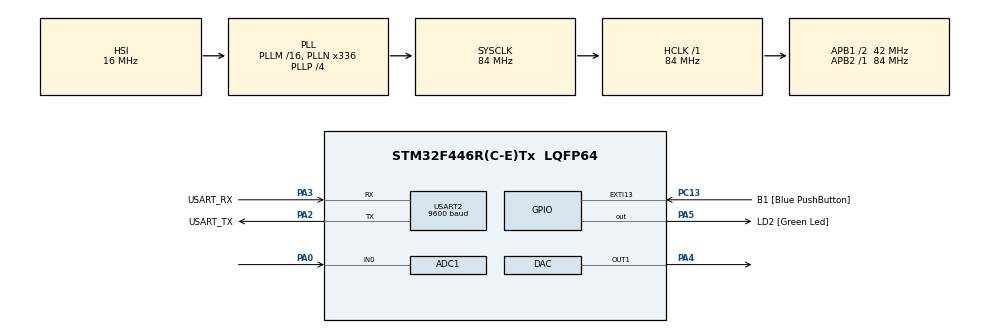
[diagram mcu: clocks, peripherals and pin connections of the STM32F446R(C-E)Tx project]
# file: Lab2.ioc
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ADC1.Channel-0\#ChannelRegularConversion=ADC_CHANNEL_0
ADC1.ContinuousConvMode=DISABLE
ADC1.DMAContinuousRequests=ENABLE
ADC1.ExternalTrigConv=ADC_EXTERNALTRIGCONV_T8_TRGO
ADC1.NbrOfConversionFlag=1
ADC1.Rank-0\#ChannelRegularConversion=1
ADC1.SamplingTime-0\#ChannelRegularConversion=ADC_SAMPLETIME_3CYCLES
ADC1.master=1
DAC.DAC_Trigger=DAC_TRIGGER_T8_TRGO
Dma.ADC1.0.Direction=DMA_PERIPH_TO_MEMORY
Dma.ADC1.0.FIFOMode=DMA_FIFOMODE_DISABLE
Dma.ADC1.0.Instance=DMA2_Stream0
Dma.ADC1.0.MemDataAlignment=DMA_MDATAALIGN_HALFWORD
Dma.ADC1.0.MemInc=DMA_MINC_ENABLE
Dma.ADC1.0.Mode=DMA_CIRCULAR
Dma.ADC1.0.PeriphDataAlignment=DMA_PDATAALIGN_HALFWORD
Dma.ADC1.0.PeriphInc=DMA_PINC_DISABLE
Dma.ADC1.0.Priority=DMA_PRIORITY_HIGH
Dma.DAC1.1.Direction=DMA_MEMORY_TO_PERIPH
Dma.DAC1.1.FIFOMode=DMA_FIFOMODE_DISABLE
Dma.DAC1.1.Instance=DMA1_Stream5
Dma.DAC1.1.MemDataAlignment=DMA_MDATAALIGN_HALFWORD
Dma.DAC1.1.MemInc=DMA_MINC_ENABLE
Dma.DAC1.1.Mode=DMA_CIRCULAR
Dma.DAC1.1.PeriphDataAlignment=DMA_PDATAALIGN_HALFWORD
Dma.DAC1.1.PeriphInc=DMA_PINC_DISABLE
Dma.DAC1.1.Priority=DMA_PRIORITY_HIGH
Dma.Request0=ADC1
Dma.Request1=DAC1
Mcu.Family=STM32F4
Mcu.Name=STM32F446R(C-E)Tx
Mcu.Package=LQFP64
NVIC.DMA1_Stream5_IRQn=true\:0\:0\:false\:false\:true\:false\:true\:true
NVIC.DMA2_Stream0_IRQn=true\:0\:0\:false\:false\:true\:false\:true\:true
NVIC.EXTI15_10_IRQn=true\:0\:0\:false\:false\:true\:true\:true\:true
NVIC.PriorityGroup=NVIC_PRIORITYGROUP_0
PA0-WKUP.Signal=ADCx_IN0
PA13.GPIO_Label=TMS
PA13.Mode=Serial_Wire
PA13.Signal=SYS_JTMS-SWDIO
PA14.GPIO_Label=TCK
PA14.Mode=Serial_Wire
PA14.Signal=SYS_JTCK-SWCLK
PA2.GPIO_Label=USART_TX
PA2.Mode=Asynchronous
PA2.Signal=USART2_TX
PA3.GPIO_Label=USART_RX
PA3.Mode=Asynchronous
PA3.Signal=USART2_RX
PA4.Signal=COMP_DAC1_group
PA5.GPIO_Label=LD2 [Green Led]
PA5.Signal=GPIO_Output
PB3.GPIO_Label=SWO
PB3.Signal=SYS_JTDO-SWO
PC13.GPIO_Label=B1 [Blue PushButton]
PC13.GPIO_ModeDefaultEXTI=GPIO_MODE_IT_FALLING
PC13.Signal=GPXTI13
PC14-OSC32_IN.Mode=LSE-External-Oscillator
PC14-OSC32_IN.Signal=RCC_OSC32_IN
PC15-OSC32_OUT.Mode=LSE-External-Oscillator
PC15-OSC32_OUT.Signal=RCC_OSC32_OUT
PH0-OSC_IN.Mode=HSE-External-Oscillator
PH0-OSC_IN.Signal=RCC_OSC_IN
PH1-OSC_OUT.Mode=HSE-External-Oscillator
PH1-OSC_OUT.Signal=RCC_OSC_OUT
ProjectManager.HeapSize=0x200
ProjectManager.StackSize=0x400
ProjectManager.TargetToolchain=CMake
RCC.48MHZClocksFreq_Value=84000000
RCC.AHBFreq_Value=84000000
RCC.APB1CLKDivider=RCC_HCLK_DIV2
RCC.APB1Freq_Value=42000000
RCC.APB1TimFreq_Value=84000000
RCC.APB2Freq_Value=84000000
RCC.APB2TimFreq_Value=84000000
RCC.CortexFreq_Value=84000000
RCC.FLatency-AdvancedSettings=FLASH_LATENCY_2
RCC.HCLKFreq_Value=84000000
RCC.HSE_VALUE=8000000
RCC.HSI_VALUE=16000000
RCC.PLLN=336
RCC.PLLP=RCC_PLLP_DIV4
RCC.SYSCLKFreq_VALUE=84000000
RCC.SYSCLKSource=RCC_SYSCLKSOURCE_PLLCLK
RCC.USBFreq_Value=168000000
RCC.VCOOutputFreq_Value=336000000
SH.ADCx_IN0.0=ADC1_IN0,IN0
SH.COMP_DAC1_group.0=DAC_OUT1,DAC_OUT1
STMicroelectronics.X-CUBE-ALGOBUILD.1.4.0.LibraryCcDSPOoLibraryJjDSPOoLibrary=true
TIM8.ClockDivision=TIM_CLOCKDIVISION_DIV1
TIM8.Period=24
TIM8.Prescaler=83
TIM8.TIM_MasterOutputTrigger=TIM_TRGO_UPDATE
USART2.BaudRate=9600
USART2.VirtualMode=VM_ASYNC
VP_STMicroelectronics.X-CUBE-ALGOBUILD_VS_DSPOoLibraryJjLibrary_1.4.0_1.4.0.Mode=DSPOoLibraryJjLibrary
VP_TIM8_VS_ClockSourceINT.Mode=Internal
board=NUCLEO-F446RE

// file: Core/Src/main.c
/* USER CODE BEGIN Header */
/**
 ******************************************************************************
 * @file           : main.c
 * @brief          : Main program body
 ******************************************************************************
 * @attention
 *
 * Copyright (c) 2026 STMicroelectronics.
 * All rights reserved.
 *
 * This software is licensed under terms that can be found in the LICENSE file
 * in the root directory of this software component.
 * If no LICENSE file comes with this software, it is provided AS-IS.
 *
 ******************************************************************************
 */
/* USER CODE END Header */
#include "main.h"
#include "stm32f4xx_hal_adc.h"

/* USER CODE BEGIN PD */
// #define BUFFER_HALFSIZE 1000
// #define BUFFER_SIZE 2000
// #define COS_TABLE_LEN 50

#define BUFFER_SIZE_40k 20000
#define BUFFER_HALFSIZE_40k 10000
#define COS_TABLE_LEN_40k 100
/* USER CODE END PD */

ADC_HandleTypeDef hadc1;
DMA_HandleTypeDef hdma_adc1;

DAC_HandleTypeDef hdac;
DMA_HandleTypeDef hdma_dac1;

TIM_HandleTypeDef htim8;

UART_HandleTypeDef huart2;

/* USER CODE BEGIN PV */
// static int16_t cos_table[COS_TABLE_LEN] = {
//     32767,  32509,  31738,  30466,  28714,  26509,  23886,  20886,  17557,
//     13952,  10126,  6140,   2057,   -2057,  -6140,  -10126, -13952, -17557,
//     -20886, -23886, -26509, -28714, -30466, -31738, -32509, -32767, -32509,
//     -31738, -30466, -28714, -26509, -23886, -20886, -17557, -13952, -10126,
//     -6140,  -2057,  2057,   6140,   10126,  13952,  17557,  20886,  23886,
//     26509,  28714,  30466,  31738,  32509};

static int16_t cos_table_40k[COS_TABLE_LEN_40k] = {
    32767,  32702,  32509,  32187,  31738,  31163,  30466,  29648,  28714,
    27666,  26509,  25247,  23886,  22431,  20886,  19260,  17557,  15786,
    13952,  12062,  10126,  8149,   6140,   4107,   2057,   0,      -2057,
    -4107,  -6140,  -8149,  -10126, -12062, -13952, -15786, -17557, -19260,
    -20886, -22431, -23886, -25247, -26509, -27666, -28714, -29648, -30466,
    -31163, -31738, -32187, -32509, -32702, -32767, -32702, -32509, -32187,
    -31738, -31163, -30466, -29648, -28714, -27666, -26509, -25247, -23886,
    -22431, -20886, -19260, -17557, -15786, -13952, -12062, -10126, -8149,
    -6140,  -4107,  -2057,  0,      2057,   4107,   6140,   8149,   10126,
    12062,  13952,  15786,  17557,  19260,  20886,  22431,  23886,  25247,
    26509,  27666,  28714,  29648,  30466,  31163,  31738,  32187,  32509,
    32702};

// uint16_t adc_buffer[BUFFER_SIZE];
// uint16_t dac_buffer[BUFFER_SIZE];

uint16_t adc_buffer_40k[BUFFER_SIZE_40k];
uint16_t dac_buffer_40k[BUFFER_SIZE_40k];
uint16_t dac_buffer_40k_unprocessed[BUFFER_SIZE_40k];
/* USER CODE END PV */

void SystemClock_Config(void);
static void MX_GPIO_Init(void);
static void MX_DMA_Init(void);
static void MX_USART2_UART_Init(void);
static void MX_ADC1_Init(void);
static void MX_DAC_Init(void);
static void MX_TIM8_Init(void);

/* USER CODE BEGIN 0 */
// void processBuffer(uint16_t *inBuffer, uint16_t *outBuffer, uint16_t size) {
//   int32_t x;
//   uint8_t gain = 2;
//   static uint16_t x_prev = 0;
//   uint8_t nFrames = size / COS_TABLE_LEN;
//   for (uint8_t fr = 0; fr < nFrames; fr++) {
//     for (uint8_t i = 0; i < COS_TABLE_LEN; i++) {
//       x = (int32_t)inBuffer[i + fr * COS_TABLE_LEN];
//       x = x - x_prev;
//       x = x * (int32_t)cos_table[i];
//       x = x >> (15 - gain);
//       outBuffer[i + fr * COS_TABLE_LEN] = (uint16_t)(x + 2048);
//       x_prev = inBuffer[i + fr * COS_TABLE_LEN];
//     }
//   }
// }

void processBuffer_40k(uint16_t *inBuffer, uint16_t *outBuffer, uint16_t size) {
  int32_t x;
  uint8_t gain = 2;
  static uint16_t x_prev = 0;
  uint8_t nFrames = size / COS_TABLE_LEN_40k;
  for (uint8_t fr = 0; fr < nFrames; fr++) {
    for (uint8_t i = 0; i < COS_TABLE_LEN_40k; i++) {
      x = (int32_t)inBuffer[i + fr * COS_TABLE_LEN_40k];
      x = x - x_prev;
      x = x * (int32_t)cos_table_40k[i];
      x = x >> (15 - gain);
      outBuffer[i + fr * COS_TABLE_LEN_40k] = (uint16_t)(x + 2048);
      x_prev = inBuffer[i + fr * COS_TABLE_LEN_40k];
    }
  }
}

void HAL_ADC_ConvHalfCpltCallback(ADC_HandleTypeDef *hadc) {
  // processBuffer(&adc_buffer[0], &dac_buffer[0], BUFFER_HALFSIZE);

  processBuffer_40k(&adc_buffer_40k[0], &dac_buffer_40k[0],
                    BUFFER_HALFSIZE_40k);

  for (int i = 0; i < BUFFER_HALFSIZE_40k; i++)
    dac_buffer_40k_unprocessed[i] = adc_buffer_40k[i];
}

void HAL_ADC_ConvCpltCallback(ADC_HandleTypeDef *hadc) {
  // processBuffer(&adc_buffer[BUFFER_HALFSIZE], &dac_buffer[BUFFER_HALFSIZE],
  //               BUFFER_HALFSIZE);

  processBuffer_40k(&adc_buffer_40k[BUFFER_HALFSIZE_40k],
                    &dac_buffer_40k[BUFFER_HALFSIZE_40k], BUFFER_HALFSIZE_40k);

  for (int i = BUFFER_HALFSIZE_40k; i < BUFFER_SIZE_40k; i++)
    dac_buffer_40k_unprocessed[i] = adc_buffer_40k[i];

  HAL_ADC_Stop_DMA(&hadc1);
}

int main(void) {
  HAL_Init();

  SystemClock_Config();

  /* Initialize all configured peripherals */
  MX_GPIO_Init();
  MX_DMA_Init();
  MX_TIM8_Init();
  MX_ADC1_Init();
  MX_DAC_Init();
  MX_USART2_UART_Init();

  HAL_TIM_Base_Start(&htim8);

  // HAL_ADC_Start_DMA(&hadc1, (uint32_t *)adc_buffer, BUFFER_SIZE);
  // HAL_DAC_Start_DMA(&hdac, DAC_CHANNEL_1, (uint32_t *)dac_buffer,
  // BUFFER_SIZE,
  //                   DAC_ALIGN_12B_R);

  HAL_ADC_Start_DMA(&hadc1, (uint32_t *)adc_buffer_40k, BUFFER_SIZE_40k);
  HAL_DAC_Start_DMA(&hdac, DAC_CHANNEL_1, (uint32_t *)dac_buffer_40k,
                    BUFFER_SIZE_40k, DAC_ALIGN_12B_R);

  /* Infinite loop */
  while (1) {
  }
}
/* USER CODE END 0 */

void SystemClock_Config(void) {
  RCC_OscInitTypeDef RCC_OscInitStruct = {0};
  RCC_ClkInitTypeDef RCC_ClkInitStruct = {0};

  /** Configure the main internal regulator output voltage
   */
  __HAL_RCC_PWR_CLK_ENABLE();
  __HAL_PWR_VOLTAGESCALING_CONFIG(PWR_REGULATOR_VOLTAGE_SCALE3);

  /** Initializes the RCC Oscillators according to the specified parameters
   * in the RCC_OscInitTypeDef structure.
   */
  RCC_OscInitStruct.OscillatorType = RCC_OSCILLATORTYPE_HSI;
  RCC_OscInitStruct.HSIState = RCC_HSI_ON;
  RCC_OscInitStruct.HSICalibrationValue = RCC_HSICALIBRATION_DEFAULT;
  RCC_OscInitStruct.PLL.PLLState = RCC_PLL_ON;
  RCC_OscInitStruct.PLL.PLLSource = RCC_PLLSOURCE_HSI;
  RCC_OscInitStruct.PLL.PLLM = 16;
  RCC_OscInitStruct.PLL.PLLN = 336;
  RCC_OscInitStruct.PLL.PLLP = RCC_PLLP_DIV4;
  RCC_OscInitStruct.PLL.PLLQ = 2;
  RCC_OscInitStruct.PLL.PLLR = 2;
  if (HAL_RCC_OscConfig(&RCC_OscInitStruct) != HAL_OK) {
    Error_Handler();
  }

  /** Initializes the CPU, AHB and APB buses clocks
   */
  RCC_ClkInitStruct.ClockType = RCC_CLOCKTYPE_HCLK | RCC_CLOCKTYPE_SYSCLK |
                                RCC_CLOCKTYPE_PCLK1 | RCC_CLOCKTYPE_PCLK2;
  RCC_ClkInitStruct.SYSCLKSource = RCC_SYSCLKSOURCE_PLLCLK;
  RCC_ClkInitStruct.AHBCLKDivider = RCC_SYSCLK_DIV1;
  RCC_ClkInitStruct.APB1CLKDivider = RCC_HCLK_DIV2;
  RCC_ClkInitStruct.APB2CLKDivider = RCC_HCLK_DIV1;

  if (HAL_RCC_ClockConfig(&RCC_ClkInitStruct, FLASH_LATENCY_2) != HAL_OK) {
    Error_Handler();
  }
}

static void MX_ADC1_Init(void) {

  ADC_ChannelConfTypeDef sConfig = {0};

  /** Configure the global features of the ADC (Clock, Resolution, Data
   * Alignment and number of conversion)
   */
  hadc1.Instance = ADC1;
  hadc1.Init.ClockPrescaler = ADC_CLOCK_SYNC_PCLK_DIV4;
  hadc1.Init.Resolution = ADC_RESOLUTION_12B;
  hadc1.Init.ScanConvMode = DISABLE;
  hadc1.Init.ContinuousConvMode = DISABLE;
  hadc1.Init.DiscontinuousConvMode = DISABLE;
  hadc1.Init.ExternalTrigConvEdge = ADC_EXTERNALTRIGCONVEDGE_RISING;
  hadc1.Init.ExternalTrigConv = ADC_EXTERNALTRIGCONV_T8_TRGO;
  hadc1.Init.DataAlign = ADC_DATAALIGN_RIGHT;
  hadc1.Init.NbrOfConversion = 1;
  hadc1.Init.DMAContinuousRequests = ENABLE;
  hadc1.Init.EOCSelection = ADC_EOC_SINGLE_CONV;
  if (HAL_ADC_Init(&hadc1) != HAL_OK) {
    Error_Handler();
  }

  /** Configure for the selected ADC regular channel its corresponding rank in
   * the sequencer and its sample time.
   */
  sConfig.Channel = ADC_CHANNEL_0;
  sConfig.Rank = 1;
  sConfig.SamplingTime = ADC_SAMPLETIME_3CYCLES;
  if (HAL_ADC_ConfigChannel(&hadc1, &sConfig) != HAL_OK) {
    Error_Handler();
  }
}

static void MX_DAC_Init(void) {

  DAC_ChannelConfTypeDef sConfig = {0};

  /** DAC Initialization
   */
  hdac.Instance = DAC;
  if (HAL_DAC_Init(&hdac) != HAL_OK) {
    Error_Handler();
  }

  /** DAC channel OUT1 config
   */
  sConfig.DAC_Trigger = DAC_TRIGGER_T8_TRGO;
  sConfig.DAC_OutputBuffer = DAC_OUTPUTBUFFER_ENABLE;
  if (HAL_DAC_ConfigChannel(&hdac, &sConfig, DAC_CHANNEL_1) != HAL_OK) {
    Error_Handler();
  }
}

static void MX_TIM8_Init(void) {

  TIM_ClockConfigTypeDef sClockSourceConfig = {0};
  TIM_MasterConfigTypeDef sMasterConfig = {0};

  htim8.Instance = TIM8;
  htim8.Init.Prescaler = 83;
  htim8.Init.CounterMode = TIM_COUNTERMODE_UP;
  htim8.Init.Period = 49;
  htim8.Init.ClockDivision = TIM_CLOCKDIVISION_DIV1;
  htim8.Init.RepetitionCounter = 0;
  htim8.Init.AutoReloadPreload = TIM_AUTORELOAD_PRELOAD_DISABLE;
  if (HAL_TIM_Base_Init(&htim8) != HAL_OK) {
    Error_Handler();
  }
  sClockSourceConfig.ClockSource = TIM_CLOCKSOURCE_INTERNAL;
  if (HAL_TIM_ConfigClockSource(&htim8, &sClockSourceConfig) != HAL_OK) {
    Error_Handler();
  }
  sMasterConfig.MasterOutputTrigger = TIM_TRGO_UPDATE;
  sMasterConfig.MasterSlaveMode = TIM_MASTERSLAVEMODE_DISABLE;
  if (HAL_TIMEx_MasterConfigSynchronization(&htim8, &sMasterConfig) != HAL_OK) {
    Error_Handler();
  }
}

static void MX_USART2_UART_Init(void) {

  huart2.Instance = USART2;
  huart2.Init.BaudRate = 9600;
  huart2.Init.WordLength = UART_WORDLENGTH_8B;
  huart2.Init.StopBits = UART_STOPBITS_1;
  huart2.Init.Parity = UART_PARITY_NONE;
  huart2.Init.Mode = UART_MODE_TX_RX;
  huart2.Init.HwFlowCtl = UART_HWCONTROL_NONE;
  huart2.Init.OverSampling = UART_OVERSAMPLING_16;
  if (HAL_UART_Init(&huart2) != HAL_OK) {
    Error_Handler();
  }
}

static void MX_DMA_Init(void) {

  /* DMA controller clock enable */
  __HAL_RCC_DMA2_CLK_ENABLE();
  __HAL_RCC_DMA1_CLK_ENABLE();

  /* DMA interrupt init */
  /* DMA1_Stream5_IRQn interrupt configuration */
  HAL_NVIC_SetPriority(DMA1_Stream5_IRQn, 0, 0);
  HAL_NVIC_EnableIRQ(DMA1_Stream5_IRQn);
  /* DMA2_Stream0_IRQn interrupt configuration */
  HAL_NVIC_SetPriority(DMA2_Stream0_IRQn, 0, 0);
  HAL_NVIC_EnableIRQ(DMA2_Stream0_IRQn);
}

static void MX_GPIO_Init(void) {
  GPIO_InitTypeDef GPIO_InitStruct = {0};

  /* GPIO Ports Clock Enable */
  __HAL_RCC_GPIOC_CLK_ENABLE();
  __HAL_RCC_GPIOH_CLK_ENABLE();
  __HAL_RCC_GPIOA_CLK_ENABLE();
  __HAL_RCC_GPIOB_CLK_ENABLE();

  /*Configure GPIO pin Output Level */
  HAL_GPIO_WritePin(LD2_GPIO_Port, LD2_Pin, GPIO_PIN_RESET);

  /*Configure GPIO pin : B1_Pin */
  GPIO_InitStruct.Pin = B1_Pin;
  GPIO_InitStruct.Mode = GPIO_MODE_IT_FALLING;
  GPIO_InitStruct.Pull = GPIO_NOPULL;
  HAL_GPIO_Init(B1_GPIO_Port, &GPIO_InitStruct);

  /*Configure GPIO pin : LD2_Pin */
  GPIO_InitStruct.Pin = LD2_Pin;
  GPIO_InitStruct.Mode = GPIO_MODE_OUTPUT_PP;
  GPIO_InitStruct.Pull = GPIO_NOPULL;
  GPIO_InitStruct.Speed = GPIO_SPEED_FREQ_LOW;
  HAL_GPIO_Init(LD2_GPIO_Port, &GPIO_InitStruct);

  /* EXTI interrupt init*/
  HAL_NVIC_SetPriority(EXTI15_10_IRQn, 0, 0);
  HAL_NVIC_EnableIRQ(EXTI15_10_IRQn);

}

void Error_Handler(void) {
  __disable_irq();
  while (1) {
  }
}
